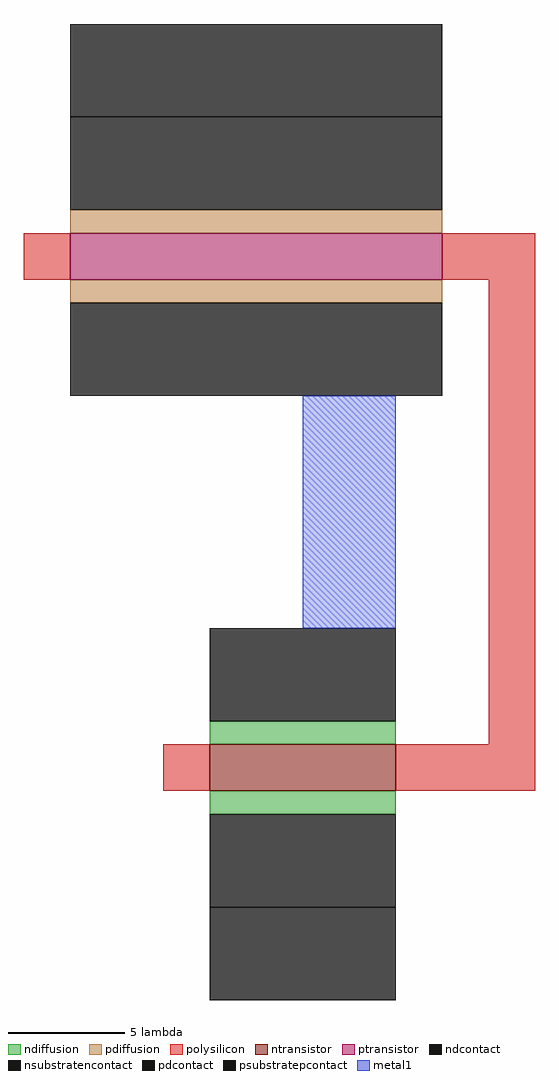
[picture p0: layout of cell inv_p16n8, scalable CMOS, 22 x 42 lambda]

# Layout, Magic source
magic
tech scmos
<< polysilicon >>
rect -14 5 -12 7
rect 4 5 8 7
rect 6 -15 8 5
rect -8 -17 -6 -15
rect 2 -17 8 -15
<< ndiffusion >>
rect -6 -15 2 -14
rect -6 -18 2 -17
<< pdiffusion >>
rect -12 7 4 8
rect -12 4 4 5
<< metal1 >>
rect -2 -10 2 0
<< ntransistor >>
rect -6 -17 2 -15
<< ptransistor >>
rect -12 5 4 7
<< ndcontact >>
rect -6 -14 2 -10
rect -6 -22 2 -18
<< pdcontact >>
rect -12 8 4 12
rect -12 0 4 4
<< psubstratepcontact >>
rect -6 -26 2 -22
<< nsubstratencontact >>
rect -12 12 4 16
<< end >>
